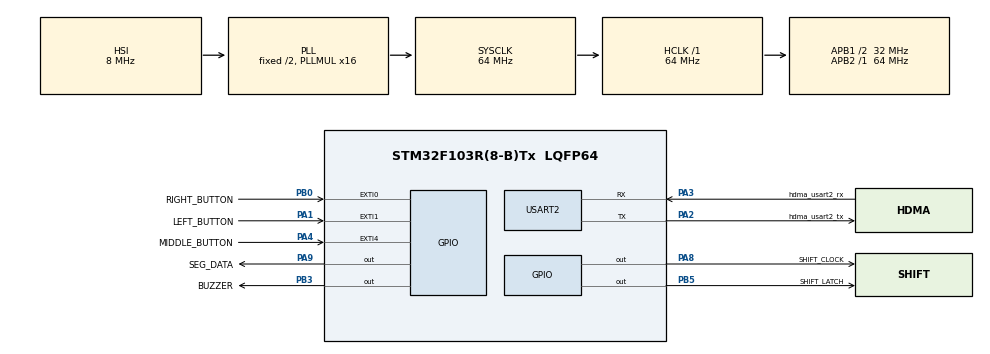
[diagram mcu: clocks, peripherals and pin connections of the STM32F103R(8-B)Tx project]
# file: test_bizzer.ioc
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Dma.Request0=USART2_RX
Dma.Request1=USART2_TX
Dma.USART2_RX.0.Direction=DMA_PERIPH_TO_MEMORY
Dma.USART2_RX.0.Instance=DMA1_Channel6
Dma.USART2_RX.0.MemDataAlignment=DMA_MDATAALIGN_BYTE
Dma.USART2_RX.0.MemInc=DMA_MINC_ENABLE
Dma.USART2_RX.0.Mode=DMA_CIRCULAR
Dma.USART2_RX.0.PeriphDataAlignment=DMA_PDATAALIGN_BYTE
Dma.USART2_RX.0.PeriphInc=DMA_PINC_DISABLE
Dma.USART2_RX.0.Priority=DMA_PRIORITY_MEDIUM
Dma.USART2_TX.1.Direction=DMA_MEMORY_TO_PERIPH
Dma.USART2_TX.1.Instance=DMA1_Channel7
Dma.USART2_TX.1.MemDataAlignment=DMA_MDATAALIGN_BYTE
Dma.USART2_TX.1.MemInc=DMA_MINC_ENABLE
Dma.USART2_TX.1.Mode=DMA_NORMAL
Dma.USART2_TX.1.PeriphDataAlignment=DMA_PDATAALIGN_BYTE
Dma.USART2_TX.1.PeriphInc=DMA_PINC_DISABLE
Dma.USART2_TX.1.Priority=DMA_PRIORITY_MEDIUM
Mcu.Family=STM32F1
Mcu.Name=STM32F103R(8-B)Tx
Mcu.Package=LQFP64
NVIC.DMA1_Channel6_IRQn=true\:0\:0\:false\:false\:true\:false\:true\:true
NVIC.DMA1_Channel7_IRQn=true\:0\:0\:false\:false\:true\:false\:true\:true
NVIC.EXTI0_IRQn=true\:0\:0\:false\:false\:true\:true\:true\:true
NVIC.EXTI1_IRQn=true\:0\:0\:false\:false\:true\:true\:true\:true
NVIC.EXTI4_IRQn=true\:0\:0\:false\:false\:true\:true\:true\:true
NVIC.PriorityGroup=NVIC_PRIORITYGROUP_4
NVIC.TIM2_IRQn=true\:0\:0\:false\:false\:true\:true\:true\:true
NVIC.USART2_IRQn=true\:0\:0\:false\:false\:true\:true\:true\:true
PA1.GPIO_Label=LEFT_BUTTON
PA1.Signal=GPXTI1
PA2.GPIO_Label=hdma_usart2_tx
PA2.Mode=Asynchronous
PA2.Signal=USART2_TX
PA3.GPIO_Label=hdma_usart2_rx
PA3.Mode=Asynchronous
PA3.Signal=USART2_RX
PA4.GPIO_Label=MIDDLE_BUTTON
PA4.Signal=GPXTI4
PA8.GPIO_Label=SHIFT_CLOCK
PA8.Signal=GPIO_Output
PA9.GPIO_Label=SEG_DATA
PA9.Signal=GPIO_Output
PB0.GPIO_Label=RIGHT_BUTTON
PB0.Signal=GPXTI0
PB3.GPIO_Label=BUZZER
PB3.GPIO_ModeDefaultOutputPP=GPIO_MODE_OUTPUT_OD
PB3.GPIO_PuPd=GPIO_NOPULL
PB3.Signal=GPIO_Output
PB5.GPIO_Label=SHIFT_LATCH
PB5.Signal=GPIO_Output
ProjectManager.HeapSize=0x200
ProjectManager.StackSize=0x400
ProjectManager.TargetToolchain=MDK-ARM V5.32
RCC.AHBFreq_Value=64000000
RCC.APB1CLKDivider=RCC_HCLK_DIV2
RCC.APB1Freq_Value=32000000
RCC.APB1TimFreq_Value=64000000
RCC.APB2Freq_Value=64000000
RCC.APB2TimFreq_Value=64000000
RCC.HCLKFreq_Value=64000000
RCC.PLLMUL=RCC_PLL_MUL16
RCC.SYSCLKFreq_VALUE=64000000
RCC.SYSCLKSource=RCC_SYSCLKSOURCE_PLLCLK
RCC.USBFreq_Value=64000000
TIM2.AutoReloadPreload=TIM_AUTORELOAD_PRELOAD_ENABLE
TIM2.Period=99
TIM2.Prescaler=319
USART2.VirtualMode=VM_ASYNC
VP_SYS_VS_ND.Mode=No_Debug
VP_TIM2_VS_ClockSourceINT.Mode=Internal
board=custom

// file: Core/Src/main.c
/* USER CODE BEGIN Header */
/**
  ******************************************************************************
  * @file    main.c
  * @brief   Main program body for naval game with COM-device control
  ******************************************************************************
  */
/* USER CODE END Header */

#include "main.h"
#include "dma.h"
#include "tim.h"
#include "usart.h"
#include "gpio.h"
#include "math.h"
#include "string.h"
#include <stdarg.h>
#include <stdio.h>
#include <stdlib.h>

/* USER CODE BEGIN PD */
#define DEBOUNCE_DELAY          20
#define CMD_LINE_SIZE           32
#define MAX_SHIPS               25
#define FIELD_WIDTH             800
#define FIELD_HEIGHT            600
#define RX_BUFFER_SIZE          32

// Crosshair movement
#define CROSSHAIR_STEP_X        25
#define CROSSHAIR_STEP_Y        3
#define MIN_X                   40
#define MAX_X                   (FIELD_WIDTH - 40)
#define MIN_Y                   40
#define MAX_Y                   (FIELD_HEIGHT - 40)

typedef struct {
    uint8_t active;
    uint8_t type;
    uint16_t x;
    uint16_t y;
} Ship;
/* USER CODE END PD */

/* USER CODE BEGIN PV */
// UART DMA
extern DMA_HandleTypeDef hdma_usart2_rx;
extern DMA_HandleTypeDef hdma_usart2_tx;
uint8_t rx_dma_buffer[RX_BUFFER_SIZE] = {0};
char cmd_line[CMD_LINE_SIZE] = {0};
uint8_t cmd_ready = 0;

// UART TX control
volatile uint8_t uart_tx_busy = 0;

// Display
uint8_t disp_buf[4] = {0xFF, 0xFF, 0xFF, 0xFF};
uint8_t seg_nums[4] = {0xF8, 0xF4, 0xF2, 0xF1};
uint8_t seg_digits[10] = {0xC0, 0xF9, 0xA4, 0xB0, 0x99, 0x92, 0x82, 0xF8, 0x80, 0x90};

// Logging
volatile uint8_t logging_enabled = 1;

// Buttons
volatile uint8_t left_button_prev = 1;
volatile uint8_t right_button_prev = 1;
volatile uint8_t middle_button_prev = 1;

// Game state
volatile uint8_t game_started = 0;
volatile uint8_t game_paused = 0;
volatile uint8_t game_time = 60;
volatile uint32_t last_second_tick = 0;
volatile uint32_t last_blink_tick = 0;
volatile uint8_t display_on = 1;
volatile uint32_t last_ship_spawn = 0;

// Crosshair state
uint32_t crosshair_locked = 0;
uint32_t crosshair_x = 400;
uint32_t crosshair_y = 300;
uint32_t vertical_direction = 1;

// Ships
Ship ships[MAX_SHIPS] = {0};

// Storm
volatile uint32_t last_storm_update = 0;
const uint32_t STORM_UPDATE_INTERVAL_MS = 100;
volatile float storm_amplitude_x = 25.0f;
volatile float storm_amplitude_y = 12.0f;
const float STORM_PERIOD_X_MS = 2400.0f;
const float STORM_PERIOD_Y_MS = 1900.0f;
// Storm activation logic
volatile uint8_t storm_active = 1;
/* USER CODE END PV */

void SystemClock_Config(void);

/* USER CODE BEGIN 0 */

// =============== UART / LOGGING ===============
void HAL_UART_TxCpltCallback(UART_HandleTypeDef *huart) {
    if (huart->Instance == USART2) {
        uart_tx_busy = 0;
    }
}

uint8_t is_uart_tx_ready(void) {
    return (__HAL_DMA_GET_COUNTER(&hdma_usart2_tx) == 0);
}

void log_to_buffer(const char* format, ...) {
    if (!logging_enabled) return;
    static char tx_buffer[128];
    if (uart_tx_busy) return;

    va_list args;
    va_start(args, format);
    int len = vsnprintf(tx_buffer, sizeof(tx_buffer) - 2, format, args);
    va_end(args);
    if (len <= 0) return;

    tx_buffer[len] = '\r';
    tx_buffer[len + 1] = '\n';
    len += 2;

    uart_tx_busy = 1;
    HAL_UART_Transmit_DMA(&huart2, (uint8_t*)tx_buffer, len);
}

// =============== DISPLAY ===============
void writeByteToDisplay(uint8_t z) {
    for (int i = 0; i < 8; ++i) {
        HAL_GPIO_WritePin(SEG_DATA_GPIO_Port, SEG_DATA_Pin, ((z & 0x80) != 0) ? GPIO_PIN_SET : GPIO_PIN_RESET);
        HAL_GPIO_WritePin(SHIFT_CLOCK_GPIO_Port, SHIFT_CLOCK_Pin, GPIO_PIN_RESET);
        HAL_GPIO_WritePin(SHIFT_CLOCK_GPIO_Port, SHIFT_CLOCK_Pin, GPIO_PIN_SET);
        z <<= 1;
    }
}

void writeSegmentToDisplay(uint8_t z, uint8_t val) {
    HAL_GPIO_WritePin(SHIFT_LATCH_GPIO_Port, SHIFT_LATCH_Pin, GPIO_PIN_RESET);
    writeByteToDisplay(val);
    writeByteToDisplay(z);
    HAL_GPIO_WritePin(SHIFT_LATCH_GPIO_Port, SHIFT_LATCH_Pin, GPIO_PIN_SET);
}

void displayInt(uint8_t value) {
    if (value > 99) value = 99;
    uint8_t tens = value / 10;
    uint8_t ones = value % 10;
    disp_buf[3] = 0xFF;
    disp_buf[2] = 0xFF;
    disp_buf[1] = seg_digits[tens];
    disp_buf[0] = seg_digits[ones];
}

void updateDisplay(void) {
    if (!display_on) {
        for (int i = 0; i < 4; i++) {
            writeSegmentToDisplay(seg_nums[i], 0xFF);
        }
        return;
    }
    displayInt(game_time);
    for (int i = 0; i < 4; i++) {
        writeSegmentToDisplay(seg_nums[i], disp_buf[i]);
    }
}

// =============== GAME LOGIC ===============
uint32_t get_random(void) {
    return HAL_GetTick() ^ (HAL_GetTick() << 5) ^ (HAL_GetTick() >> 3);
}

void spawn_ship(void) {
    int free_slot = -1;
    for (int i = 0; i < MAX_SHIPS; i++) {
        if (!ships[i].active) {
            free_slot = i;
            break;
        }
    }
    if (free_slot == -1) return;

    uint8_t type;
    uint32_t r = get_random() % 100;
    if (r < 50) type = 10;
    else if (r < 80) type = 20;
    else type = 30;

    uint16_t x = MIN_X + (get_random() % (MAX_X - MIN_X + 1));
    uint16_t y = MIN_Y + (get_random() % (MAX_Y - MIN_Y + 1));

    ships[free_slot].active = 1;
    ships[free_slot].type = type;
    ships[free_slot].x = x;
    ships[free_slot].y = y;

    log_to_buffer("SHIP:%d,%d,%d", type, x, y);
}

void check_ship_hit(uint16_t ch_x, uint16_t ch_y) {
    int hit = 0;
    uint8_t hit_type = 0;
    int hit_index = -1;
    uint16_t hit_x = 0;
    uint16_t hit_y = 0;

    for (int i = 0; i < MAX_SHIPS; i++) {
        if (ships[i].active) {
            int dx = ch_x - ships[i].x;
            int dy = ch_y - ships[i].y;
            int dist_sq = dx * dx + dy * dy;

            int r_squared;
            if (ships[i].type == 10) {
                r_squared = 25 * 25;
            } else if (ships[i].type == 20) {
                r_squared = 35 * 35;
            } else {
                r_squared = 45 * 45;
            }

            if (dist_sq <= r_squared) {
                hit = 1;
                hit_type = ships[i].type;
                hit_index = i;
                hit_x = ships[i].x;
                hit_y = ships[i].y;
                break;
            }
        }
    }
    if (hit) {
        ships[hit_index].active = 0;
        log_to_buffer("RESULT:HIT:%d,%d,%d", hit_type, hit_x, hit_y);
    } else {
        log_to_buffer("RESULT:MISS,%d,%d", ch_x, ch_y);
    }
}
// =============== STORM GENERATOR ===============
void get_storm_offsets(int16_t* out_x, int16_t* out_y) {
    uint32_t t = HAL_GetTick();
    float phase_x = 2.0f * 3.14159265f * (t % (uint32_t)STORM_PERIOD_X_MS) / STORM_PERIOD_X_MS;
    float phase_y = 2.0f * 3.14159265f * (t % (uint32_t)STORM_PERIOD_Y_MS) / STORM_PERIOD_Y_MS;
    *out_x = (int16_t)(storm_amplitude_x * sinf(phase_x));
    *out_y = (int16_t)(storm_amplitude_y * sinf(phase_y + 0.7f));
}
// =============== UART COMMANDS ===============
void check_uart_commands(void) {
    static uint8_t checked_index = 0;
    uint16_t current_index = RX_BUFFER_SIZE - __HAL_DMA_GET_COUNTER(&hdma_usart2_rx);
    if (current_index >= RX_BUFFER_SIZE) current_index = 0;

    while (checked_index != current_index) {
        uint8_t ch = rx_dma_buffer[checked_index];
        checked_index = (checked_index + 1) % RX_BUFFER_SIZE;

        if (ch == '\r' || ch == '\n') {
            if (cmd_ready == 0 && strlen(cmd_line) > 0) {
                cmd_ready = 1;
            }
        } else if (strlen(cmd_line) < CMD_LINE_SIZE - 1) {
            strncat(cmd_line, (char*)&ch, 1);
        } else {
            cmd_ready = 0;
            memset(cmd_line, 0, sizeof(cmd_line));
        }
    }
}

// =============== BUTTON HANDLING ===============
void process_buttons(uint32_t current_time) {
    static uint32_t last_check = 0;
    if (current_time - last_check < 30) return;
    last_check = current_time;

    uint8_t left_now = HAL_GPIO_ReadPin(LEFT_BUTTON_GPIO_Port, LEFT_BUTTON_Pin);
    uint8_t right_now = HAL_GPIO_ReadPin(RIGHT_BUTTON_GPIO_Port, RIGHT_BUTTON_Pin);
    uint8_t middle_now = HAL_GPIO_ReadPin(MIDDLE_BUTTON_GPIO_Port, MIDDLE_BUTTON_Pin);

    // LEFT
    if (left_button_prev == 1 && left_now == 0) {
        if (game_started && !game_paused) {
						if (crosshair_x > MIN_X) {
							crosshair_x -= CROSSHAIR_STEP_X;
						}
						log_to_buffer("CROSSHAIR_STEP_LEFT");
        }
    }
    left_button_prev = left_now;

    // RIGHT
    if (right_button_prev == 1 && right_now == 0) {
        if (game_started && !game_paused) {
            if (crosshair_x < MAX_X) {
								crosshair_x += CROSSHAIR_STEP_X;
						}
						log_to_buffer("CROSSHAIR_STEP_RIGHT");
        }
    }
    right_button_prev = right_now;

    // MIDDLE
		if (middle_button_prev == 1 && middle_now == 0) {
				if (game_started && !game_paused) {

						if (!crosshair_locked) {
								crosshair_locked = 1;
								log_to_buffer("MIDDLE_CLICK:%d,%d", crosshair_x, crosshair_y);

						} else {
								crosshair_locked = 0;
								log_to_buffer("MIDDLE_CLICK:%d,%d", crosshair_x, crosshair_y);
						}
				}
		}
    middle_button_prev = middle_now;
}

// =============== GAME UPDATE ===============
void update_game_logic(uint32_t current_time) {
    if (!game_started || game_paused) return;

    // Spawn ships every 2 seconds
    if (current_time - last_ship_spawn >= 4000) {
        last_ship_spawn = current_time;
        spawn_ship();
    }

    // Timer tick every second
    if (current_time - last_second_tick >= 1000) {
        last_second_tick = current_time;
        if (game_time > 0) {
            game_time--;
            log_to_buffer("TIME:%d", game_time);
            if (game_time == 0) {
								game_started = 0;
            }
        }
    }

		// Storm logic
		if (current_time - last_storm_update >= STORM_UPDATE_INTERVAL_MS) {
        last_storm_update = current_time;
        int16_t sx, sy;
        get_storm_offsets(&sx, &sy);
        log_to_buffer("STORM:%d,%d", sx, sy);
    }
}

// =============== COMMAND HANDLING ===============
void handle_commands(void) {
    if (!cmd_ready) return;
    cmd_ready = 0;
    char *cmd = cmd_line;

    if (strncmp(cmd, "CMD:START", 9) == 0) {
        game_started = 1;
        game_paused = 0;
        crosshair_locked = 0;
        crosshair_x = 400;
        crosshair_y = 300;
        vertical_direction = 1;
        for (int i = 0; i < MAX_SHIPS; i++) ships[i].active = 0;
        last_ship_spawn = HAL_GetTick();
        last_second_tick = HAL_GetTick();
        log_to_buffer("COM: START=%d, PAUSE=%d", game_started, game_paused);
        log_to_buffer("TIME:%d", game_time);
    }
    else if (strncmp(cmd, "CMD:PAUSE", 9) == 0) {
        game_started = 1;
        game_paused = !game_paused;
				if (!game_paused) {
						last_second_tick = HAL_GetTick();
				}
        log_to_buffer("COM: START=%d, PAUSE=%d", game_started, game_paused);
    }
    else if (strncmp(cmd, "CMD:RESET", 9) == 0) {
				game_started = 0;
        game_paused = 0;
        game_time = 60;
        crosshair_locked = 0;
        crosshair_x = 400;
        crosshair_y = 300;
        for (int i = 0; i < MAX_SHIPS; i++) ships[i].active = 0;
        log_to_buffer("COM: reset=1");
        log_to_buffer("TIME:%d", game_time);
    }
    else if (strncmp(cmd, "CMD:SHOT:", 9) == 0) {
				char *comma = strchr(cmd + 9, ',');
				if (comma) {
						uint16_t x = atoi(cmd + 9);
						uint16_t y = atoi(comma + 1);
						check_ship_hit(x, y);
						crosshair_locked = 0;
				}
		}
		else if (strncmp(cmd, "CMD:STORM_UPDATE:", 17) == 0) {
				char* comma = strchr(cmd + 17, ',');
				if (comma) {
						int16_t delta_x = atoi(cmd + 17);
						int16_t delta_y = atoi(comma + 1);

						int16_t new_x = (int16_t)storm_amplitude_x + delta_x * 5;
						int16_t new_y = (int16_t)storm_amplitude_y + delta_y * 5;

						if (new_x < 0) new_x = 0;
						if (new_x > 50) new_x = 50;
						if (new_y < 0) new_y = 0;
						if (new_y > 50) new_y = 50;

						storm_amplitude_x = (float)new_x;
						storm_amplitude_y = (float)new_y;

						log_to_buffer("STORM_AMP_UPDATED:%d,%d", new_x, new_y);
				}
		}
    else {
        log_to_buffer("COM: unknown cmd: %s", cmd);
    }

    memset(cmd_line, 0, CMD_LINE_SIZE);
}
/* USER CODE END 0 */

int main(void)
{
    /* MCU Configuration--------------------------------------------------------*/
    HAL_Init();
    SystemClock_Config();
    MX_GPIO_Init();
    MX_DMA_Init();
    MX_TIM2_Init();
    MX_USART2_UART_Init();

    /* Initialize UART DMA */
    HAL_UART_Receive_DMA(&huart2, rx_dma_buffer, RX_BUFFER_SIZE);

    /* Initial state */
    HAL_GPIO_WritePin(BUZZER_GPIO_Port, BUZZER_Pin, GPIO_PIN_SET);
    last_second_tick = HAL_GetTick();
    last_blink_tick = HAL_GetTick();

    /* Infinite loop */
    while (1)
    {
        uint32_t current_time = HAL_GetTick();

        // =============== SERIAL COMMUNICATION ===============
        check_uart_commands();
        handle_commands();

        // =============== INPUT HANDLING ===============
        process_buttons(current_time);

        // =============== GAME LOGIC ===============
        update_game_logic(current_time);

        // =============== DISPLAY ===============
        if (game_started && game_paused) {
            if (current_time - last_blink_tick >= 500) {
                last_blink_tick = current_time;
                display_on = !display_on;
            }
        } else {
            display_on = 1;
        }
        updateDisplay();
    }
}

void SystemClock_Config(void)
{
    RCC_OscInitTypeDef RCC_OscInitStruct = {0};
    RCC_ClkInitTypeDef RCC_ClkInitStruct = {0};

    RCC_OscInitStruct.OscillatorType = RCC_OSCILLATORTYPE_HSI;
    RCC_OscInitStruct.HSIState = RCC_HSI_ON;
    RCC_OscInitStruct.HSICalibrationValue = RCC_HSICALIBRATION_DEFAULT;
    RCC_OscInitStruct.PLL.PLLState = RCC_PLL_ON;
    RCC_OscInitStruct.PLL.PLLSource = RCC_PLLSOURCE_HSI_DIV2;
    RCC_OscInitStruct.PLL.PLLMUL = RCC_PLL_MUL16;
    if (HAL_RCC_OscConfig(&RCC_OscInitStruct) != HAL_OK) {
        Error_Handler();
    }

    RCC_ClkInitStruct.ClockType = RCC_CLOCKTYPE_HCLK|RCC_CLOCKTYPE_SYSCLK
                                |RCC_CLOCKTYPE_PCLK1|RCC_CLOCKTYPE_PCLK2;
    RCC_ClkInitStruct.SYSCLKSource = RCC_SYSCLKSOURCE_PLLCLK;
    RCC_ClkInitStruct.AHBCLKDivider = RCC_SYSCLK_DIV1;
    RCC_ClkInitStruct.APB1CLKDivider = RCC_HCLK_DIV2;
    RCC_ClkInitStruct.APB2CLKDivider = RCC_HCLK_DIV1;
    if (HAL_RCC_ClockConfig(&RCC_ClkInitStruct, FLASH_LATENCY_2) != HAL_OK) {
        Error_Handler();
    }
}

void Error_Handler(void)
{
}
